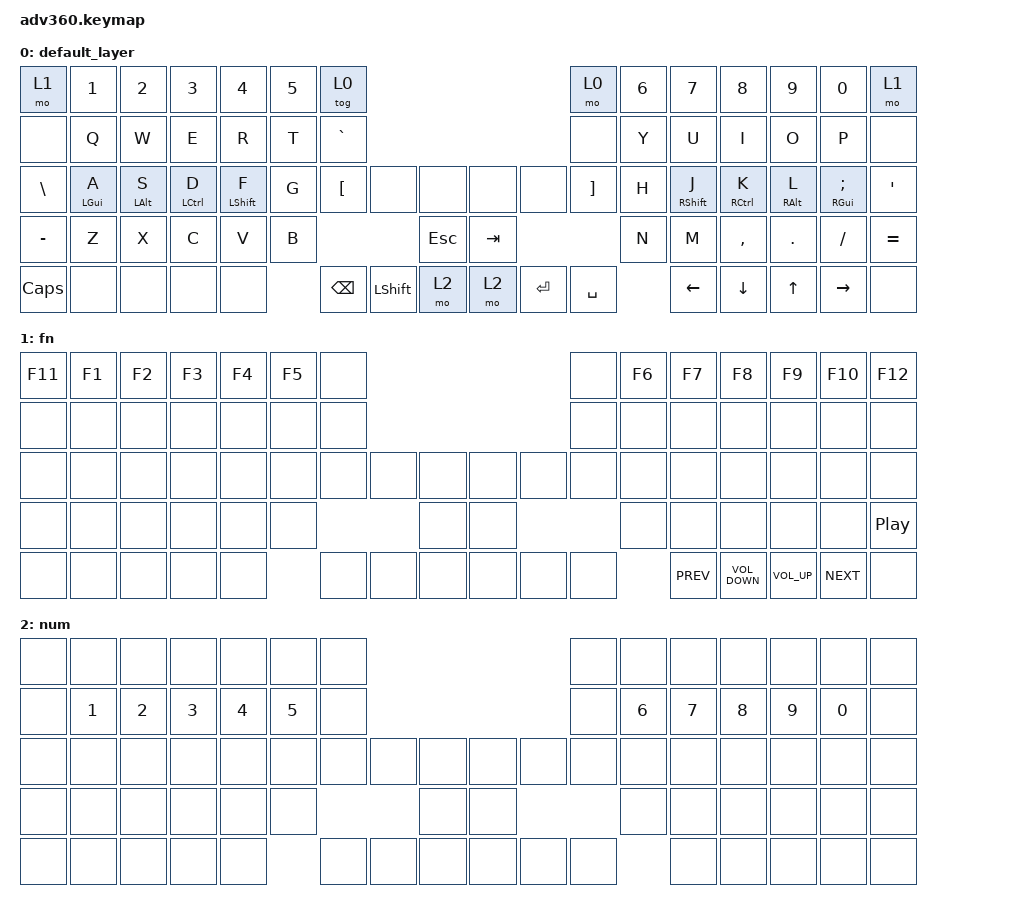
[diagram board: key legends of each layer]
#include <behaviors.dtsi>
#include <dt-bindings/zmk/keys.h>

/ {
    behaviors {
        #include "macros.dtsi"
      #include "version.dtsi"
      #ifndef VERSION_MACRO

        macro_ver: macro_ver {
            compatible = "zmk,behavior-macro";
            label = "macro_version";
            #binding-cells = <0>;
            bindings = <&kp RET>;
        };

        #endif

        hm: homerow_mods {
            compatible = "zmk,behavior-hold-tap";
            label = "HOMEROW_MODS";
            #binding-cells = <2>;
            tapping-term-ms = <200>;
            quick_tap_ms = <175>;
            flavor = "tap-preferred";
            bindings = <&kp>, <&kp>;
        };

        hml: hml {
            compatible = "zmk,behavior-hold-tap";
            label = "HML";
            bindings = <&kp>, <&kp>;

            #binding-cells = <2>;
            tapping-term-ms = <280>;
            quick-tap-ms = <175>;
            flavor = "balanced";
            hold-trigger-key-positions = <7 8 9 10 11 12 13 21 22 23 24 25 26 27 38 39 40 41 42 43 44 45 54 55 56 57 58 59 69 70 71 72 73 74 75 35 36 37 38 52 53 65 66 67 68 69>;
            hold-trigger-on-release;
        };

        hmr: hmr {
            compatible = "zmk,behavior-hold-tap";
            label = "HMR";
            bindings = <&kp>, <&kp>;

            #binding-cells = <2>;
            tapping-term-ms = <280>;
            quick-tap-ms = <175>;
            flavor = "balanced";
            hold-trigger-on-release;
            hold-trigger-key-positions = <0 1 2 3 4 5 6 14 15 16 17 18 19 20 28 29 30 31 32 33 34 35 36 37 38 46 47 48 49 50 51 52 53 60 61 62 63 64 65 66 67 68 37 53 68 69 70>;
        };
    };

    macros {
    };

    keymap {
        compatible = "zmk,keymap";

        default_layer {
            bindings = <
&mo 1          &kp N1           &kp N2           &kp N3               &kp N4             &kp N5  &tog 0                                                             &mo 0              &kp N6  &kp N7              &kp N8                &kp N9            &kp N0               &mo 1
&none          &kp Q            &kp W            &kp E                &kp R              &kp T   &kp GRAVE                                                          &none              &kp Y   &kp U               &kp I                 &kp O             &kp P                &none
&kp BACKSLASH  &hml LEFT_GUI A  &hml LEFT_ALT S  &hml LEFT_CONTROL D  &hml LEFT_SHIFT F  &kp G   &kp LEFT_BRACKET  &none           &none        &none    &none      &kp RIGHT_BRACKET  &kp H   &hmr RIGHT_SHIFT J  &hmr RIGHT_CONTROL K  &hmr RIGHT_ALT L  &hmr RIGHT_GUI SEMI  &kp SQT
&kp MINUS      &kp Z            &kp X            &kp C                &kp V              &kp B                                     &kp ESC      &kp TAB                                &kp N   &kp M               &kp COMMA             &kp DOT           &kp FSLH             &kp EQUAL
&kp CAPSLOCK   &none            &none            &none                &none                      &kp BSPC          &kp LEFT_SHIFT  &mo 2        &mo 2    &kp ENTER  &kp SPACE                  &kp LEFT            &kp DOWN              &kp UP            &kp RIGHT            &none
            >;
        };

        fn {
            bindings = <
&kp F11  &kp F1  &kp F2  &kp F3  &kp F4  &kp F5  &none                                  &none  &kp F6  &kp F7      &kp F8             &kp F9           &kp F10     &kp F12
&none    &none   &none   &none   &none   &none   &none                                  &none  &none   &none       &none              &none            &none       &none
&none    &none   &none   &none   &none   &none   &none  &none  &none      &none  &none  &none  &none   &none       &none              &none            &none       &none
&none    &none   &none   &none   &none   &none                 &none      &none                &none   &none       &none              &none            &none       &kp C_PLAY_PAUSE
&none    &none   &none   &none   &none           &none  &none  &none      &none  &none  &none          &kp C_PREV  &kp C_VOLUME_DOWN  &kp C_VOLUME_UP  &kp C_NEXT  &none
            >;
        };

        num {
            bindings = <
&none  &none         &none         &none         &none         &none         &none                                  &none  &none         &none         &none         &none         &none         &none
&none  &kp NUMBER_1  &kp NUMBER_2  &kp NUMBER_3  &kp NUMBER_4  &kp NUMBER_5  &none                                  &none  &kp NUMBER_6  &kp NUMBER_7  &kp NUMBER_8  &kp NUMBER_9  &kp NUMBER_0  &none
&none  &none         &none         &none         &none         &none         &none  &none  &none      &none  &none  &none  &none         &none         &none         &none         &none         &none
&none  &none         &none         &none         &none         &none                       &none      &none                &none         &none         &none         &none         &none         &none
&none  &none         &none         &none         &none                       &none  &none  &none      &none  &none  &none                &none         &none         &none         &none         &none
            >;
        };
    };
};
